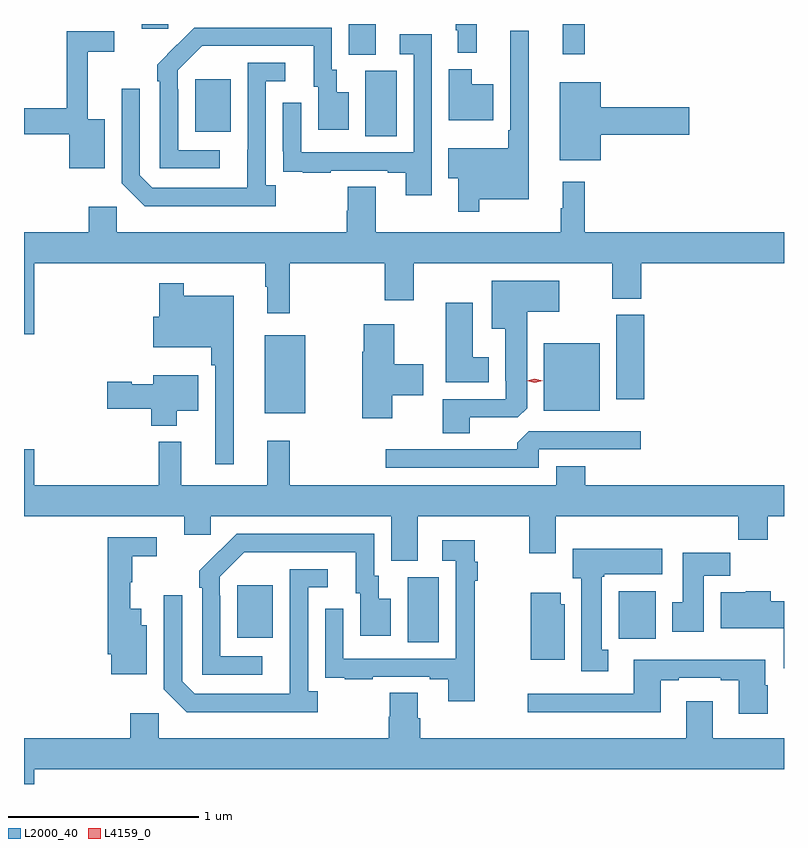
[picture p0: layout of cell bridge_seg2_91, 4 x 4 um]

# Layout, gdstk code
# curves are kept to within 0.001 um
import gdstk
lib = gdstk.Library(unit=1e-6, precision=1e-09)
def R(c, l, rs):  # rectangles x0, y0, x1, y1
    for r in rs: c.add(gdstk.rectangle(r[:2], r[2:], *l))
def P(c, l, *ps):  # polygons
    for p in ps: c.add(gdstk.Polygon(p, *l))
L2000_40 = (2000, 40)
L4159_0 = (4159, 0)

bridge_seg2_91 = lib.new_cell('bridge_seg2_91')
R(bridge_seg2_91, L2000_40, [(322.982,661.624,323.146,661.968), (324.093,661.644,324.289,661.894), (322.085,661.649,322.273,661.924), (322.229,662.831,322.444,663.241), (323.699,662.843,323.992,663.199), (324.08,662.904,324.227,663.348), (322.76,664.288,322.924,664.632), (321.863,664.313,322.051,664.588), (322.673,664.717,322.813,664.879), (323.798,664.719,323.915,664.879), (321.584,664.854,321.723,664.879)])
P(bridge_seg2_91, L2000_40, [(323.345,664.879),(323.235,664.879),(323.235,664.845),(323.246,664.845),(323.246,664.727),(323.345,664.727)],
  [(321.994,664.215),(321.774,664.215),(321.774,664.535),(321.771,664.535),(321.771,664.635),(321.9,664.764),(322.487,664.764),(322.487,664.548),(322.511,664.548),(322.511,664.323),(322.672,664.323),(322.672,664.519),(322.609,664.519),(322.609,664.638),(322.584,664.638),(322.584,664.86),(321.86,664.86),(321.663,664.665),(321.663,664.577),(321.678,664.577),(321.678,664.119),(321.994,664.119)],
  [(323.359,663.956),(323.62,663.956),(323.62,664.843),(323.523,664.843),(323.523,664.321),(323.511,664.321),(323.511,664.225),(323.196,664.225),(323.196,664.067),(323.249,664.067),(323.249,663.891),(323.359,663.891)],
  [(321.388,664.378),(321.299,664.378),(321.299,664.734),(321.439,664.734),(321.439,664.842),(321.189,664.842),(321.189,664.436),(320.963,664.436),(320.963,664.3),(321.201,664.3),(321.201,664.121),(321.388,664.121)],
  [(323.109,664.825),(322.941,664.825),(322.941,664.719),(323.013,664.719),(323.013,664.203),(322.422,664.203),(322.422,664.465),(322.326,664.465),(322.326,664.21),(322.327,664.21),(322.327,664.101),(322.429,664.101),(322.429,664.095),(322.577,664.095),(322.577,664.107),(322.877,664.107),(322.877,664.095),(322.973,664.095),(322.973,663.978),(323.109,663.978)],
  [(322.288,664.03),(322.236,664.03),(322.236,664.578),(322.339,664.578),(322.339,664.674),(322.14,664.674),(322.139,664.017),(321.639,664.017),(321.573,664.083),(321.573,664.537),(321.477,664.537),(321.477,664.041),(321.598,663.92),(322.288,663.92)],
  [(323.434,664.561),(323.32,664.561),(323.32,664.642),(323.198,664.642),(323.198,664.373),(323.434,664.373)],
  [(323.998,664.295),(324.463,664.295),(324.463,664.442),(323.998,664.442),(323.998,664.573),(323.783,664.573),(323.783,664.163),(323.998,664.163)],
  [(321.016,663.62),(322.233,663.62),(322.233,663.497),(322.244,663.497),(322.244,663.357),(322.361,663.357),(322.361,663.62),(322.862,663.62),(322.862,663.426),(323.014,663.426),(323.014,663.62),(324.059,663.62),(324.059,663.433),(324.212,663.433),(324.212,663.62),(324.963,663.62),(324.963,663.784),(323.915,663.784),(323.915,664.048),(323.798,664.048),(323.798,663.908),(323.787,663.908),(323.787,663.784),(322.813,663.784),(322.813,664.022),(322.666,664.022),(322.666,663.897),(322.661,663.897),(322.661,663.784),(321.45,663.784),(321.45,663.916),(321.304,663.916),(321.304,663.784),(320.963,663.784),(320.963,663.246),(321.016,663.246)],
  [(323.308,662.808),(323.562,662.808),(323.611,662.857),(323.611,663.365),(323.779,663.365),(323.779,663.529),(323.426,663.529),(323.426,663.275),(323.495,663.275),(323.495,663.001),(323.499,663.001),(323.499,662.904),(323.168,662.904),(323.168,662.725),(323.308,662.725)],
  [(322.066,663.448),(321.805,663.448),(321.805,663.514),(321.676,663.514),(321.676,663.337),(321.642,663.337),(321.642,663.179),(321.949,663.179),(321.949,663.083),(321.969,663.083),(321.969,662.562),(322.066,662.562)],
  [(323.41,663.124),(323.326,663.124),(323.326,663.412),(323.183,663.412),(323.183,662.993),(323.41,662.993)],
  [(322.9,662.924),(323.065,662.924),(323.065,663.087),(322.912,663.087),(322.912,663.298),(322.75,663.298),(322.75,663.153),(322.742,663.153),(322.742,662.805),(322.9,662.805)],
  [(321.766,662.843),(321.88,662.843),(321.88,663.031),(321.644,663.031),(321.644,662.983),(321.531,662.983),(321.531,662.996),(321.402,662.996),(321.402,662.854),(321.632,662.854),(321.632,662.765),(321.766,662.765)],
  [(323.673,662.64),(324.208,662.64),(324.208,662.736),(323.619,662.736),(323.558,662.674),(323.558,662.64),(322.866,662.64),(322.866,662.544),(323.673,662.544)],
  [(323.035,662.288),(323.621,662.288),(323.621,662.094),(323.761,662.094),(323.761,662.288),(324.721,662.288),(324.721,662.164),(324.878,662.164),(324.878,662.288),(324.963,662.288),(324.963,662.452),(323.918,662.452),(323.918,662.551),(323.765,662.551),(323.765,662.452),(322.361,662.452),(322.361,662.686),(322.244,662.686),(322.244,662.452),(321.791,662.452),(321.791,662.68),(321.673,662.68),(321.673,662.452),(321.016,662.452),(321.016,662.641),(320.963,662.641),(320.963,662.288),(321.806,662.288),(321.806,662.19),(321.945,662.19),(321.945,662.288),(322.895,662.288),(322.895,662.053),(323.035,662.053)],
  [(322.216,661.551),(321.996,661.551),(321.996,661.871),(321.993,661.871),(321.993,661.971),(322.122,662.1),(322.709,662.1),(322.709,661.884),(322.733,661.884),(322.733,661.659),(322.894,661.659),(322.894,661.855),(322.831,661.855),(322.831,661.974),(322.806,661.974),(322.806,662.196),(322.082,662.196),(321.885,662.001),(321.885,661.913),(321.9,661.913),(321.9,661.455),(322.216,661.455)],
  [(321.61,661.714),(321.58,661.714),(321.58,661.801),(321.521,661.801),(321.521,661.941),(321.532,661.941),(321.532,662.077),(321.661,662.077),(321.661,662.178),(321.403,662.178),(321.403,661.561),(321.422,661.561),(321.422,661.457),(321.61,661.457)],
  [(323.336,661.948),(323.351,661.948),(323.351,662.048),(323.336,662.048),(323.336,662.161),(323.163,662.161),(323.163,662.055),(323.235,662.055),(323.235,661.539),(322.644,661.539),(322.644,661.801),(322.548,661.801),(322.548,661.546),(322.549,661.546),(322.549,661.437),(322.651,661.437),(322.651,661.431),(322.799,661.431),(322.799,661.443),(323.099,661.443),(323.099,661.431),(323.195,661.431),(323.195,661.314),(323.336,661.314)],
  [(324.037,661.585),(324.004,661.585),(324.004,661.969),(324.018,661.969),(324.018,661.982),(324.322,661.982),(324.322,662.116),(323.852,662.116),(323.852,661.962),(323.897,661.962),(323.897,661.473),(324.037,661.473)],
  [(324.541,661.976),(324.68,661.976),(324.68,662.095),(324.431,662.095),(324.431,661.836),(324.374,661.836),(324.374,661.68),(324.541,661.68)],
  [(322.51,661.366),(322.458,661.366),(322.458,661.914),(322.561,661.914),(322.561,662.01),(322.362,662.01),(322.361,661.353),(321.861,661.353),(321.795,661.419),(321.795,661.873),(321.699,661.873),(321.699,661.377),(321.82,661.256),(322.51,661.256)],
  [(324.963,661.84),(324.893,661.84),(324.893,661.894),(324.762,661.894),(324.762,661.888),(324.629,661.888),(324.629,661.7),(324.962,661.7),(324.962,661.488),(324.963,661.488)],
  [(323.809,661.824),(323.788,661.824),(323.788,661.885),(323.63,661.885),(323.63,661.532),(323.809,661.532)],
  [(324.878,661.4),(324.865,661.4),(324.865,661.534),(324.173,661.534),(324.173,661.353),(323.613,661.353),(323.613,661.256),(324.313,661.256),(324.313,661.425),(324.409,661.425),(324.409,661.437),(324.629,661.437),(324.629,661.425),(324.725,661.425),(324.725,661.248),(324.878,661.248)],
  [(320.963,660.879),(321.016,660.879),(321.016,660.956),(324.963,660.956),(324.963,661.12),(324.589,661.12),(324.589,661.315),(324.449,661.315),(324.449,661.12),(323.048,661.12),(323.048,661.226),(323.035,661.226),(323.035,661.358),(322.888,661.358),(322.888,661.233),(322.883,661.233),(322.883,661.12),(321.672,661.12),(321.672,661.252),(321.521,661.252),(321.521,661.12),(320.963,661.12)])
P(bridge_seg2_91, L4159_0, [(323.651,662.991),(323.61,663.001),(323.61,663.001),(323.61,663.001),(323.651,663.011),(323.692,663.001),(323.692,663.001),(323.692,663.001)])

lib.write_gds('bridge_seg2_91.gds')
